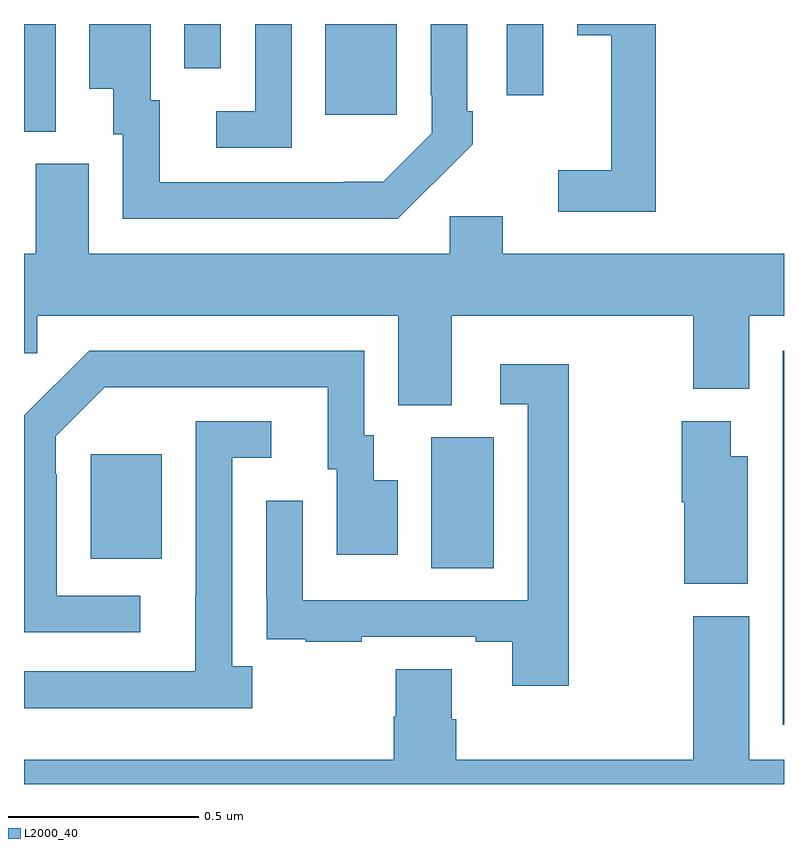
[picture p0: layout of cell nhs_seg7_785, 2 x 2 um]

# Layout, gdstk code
import gdstk
lib = gdstk.Library(unit=1e-6, precision=1e-09)
def R(c, l, rs):  # rectangles x0, y0, x1, y1
    for r in rs: c.add(gdstk.rectangle(r[:2], r[2:], *l))
def P(c, l, *ps):  # polygons
    for p in ps: c.add(gdstk.Polygon(p, *l))
L2000_40 = (2000, 40)

nhs_seg7_785 = lib.new_cell('nhs_seg7_785')
R(nhs_seg7_785, L2000_40, [(122.997,1050.156,123,1051.14), (122.072,1050.568,122.236,1050.912), (121.175,1050.593,121.363,1050.868), (121,1051.717,121.084,1052), (121.793,1051.761,121.981,1052), (122.271,1051.812,122.367,1052), (121.422,1051.884,121.518,1052)])
P(nhs_seg7_785, L2000_40, [(121.704,1052),(121.608,1052),(121.608,1051.77),(121.506,1051.77),(121.506,1051.674),(121.704,1051.674)],
  [(122.663,1052),(122.456,1052),(122.456,1051.97),(122.546,1051.97),(122.546,1051.615),(122.406,1051.615),(122.406,1051.506),(122.663,1051.506)],
  [(122.075,1051.579),(122.076,1051.578),(122.181,1051.683),(122.181,1051.771),(122.166,1051.771),(122.166,1052),(122.07,1052),(122.07,1051.813),(122.073,1051.813),(122.073,1051.713),(121.945,1051.585),(121.841,1051.585),(121.841,1051.584),(121.357,1051.584),(121.357,1051.8),(121.333,1051.8),(121.333,1052),(121.172,1052),(121.172,1051.829),(121.235,1051.829),(121.235,1051.71),(121.26,1051.71),(121.26,1051.488),(121.984,1051.488)],
  [(122.125,1051.232),(122.761,1051.232),(122.761,1051.04),(122.908,1051.04),(122.908,1051.232),(123,1051.232),(123,1051.396),(122.26,1051.396),(122.26,1051.494),(122.121,1051.494),(122.121,1051.396),(121.171,1051.396),(121.171,1051.632),(121.031,1051.632),(121.031,1051.396),(121,1051.396),(121,1051.134),(121.035,1051.134),(121.035,1051.232),(121.985,1051.232),(121.985,1050.997),(122.125,1050.997)],
  [(121.306,1050.495),(121.086,1050.495),(121.086,1050.815),(121.083,1050.815),(121.083,1050.915),(121.212,1051.044),(121.799,1051.044),(121.799,1050.828),(121.823,1050.828),(121.823,1050.603),(121.984,1050.603),(121.984,1050.799),(121.921,1050.799),(121.921,1050.918),(121.896,1050.918),(121.896,1051.14),(121.172,1051.14),(121.081,1051.049),(121.08,1051.05),(121,1050.97),(121,1050.399),(121.306,1050.399)],
  [(122.434,1051.105),(122.253,1051.105),(122.253,1050.999),(122.325,1050.999),(122.325,1050.483),(121.734,1050.483),(121.734,1050.745),(121.638,1050.745),(121.638,1050.49),(121.639,1050.49),(121.639,1050.381),(121.741,1050.381),(121.741,1050.375),(121.889,1050.375),(121.889,1050.387),(122.189,1050.387),(122.189,1050.375),(122.285,1050.375),(122.285,1050.258),(122.434,1050.258)],
  [(122.905,1050.862),(122.86,1050.862),(122.86,1050.955),(122.731,1050.955),(122.731,1050.741),(122.738,1050.741),(122.738,1050.527),(122.905,1050.527)],
  [(121.6,1050.31),(121.548,1050.31),(121.548,1050.858),(121.651,1050.858),(121.651,1050.954),(121.452,1050.954),(121.452,1050.497),(121.451,1050.497),(121.451,1050.297),(121,1050.297),(121,1050.2),(121.6,1050.2)],
  [(123,1050.064),(122.908,1050.064),(122.908,1050.442),(122.761,1050.442),(122.761,1050.064),(122.138,1050.064),(122.138,1050.17),(122.125,1050.17),(122.125,1050.302),(121.978,1050.302),(121.978,1050.177),(121.973,1050.177),(121.973,1050.064),(121,1050.064),(121,1050),(123,1050)])

lib.write_gds('nhs_seg7_785.gds')
